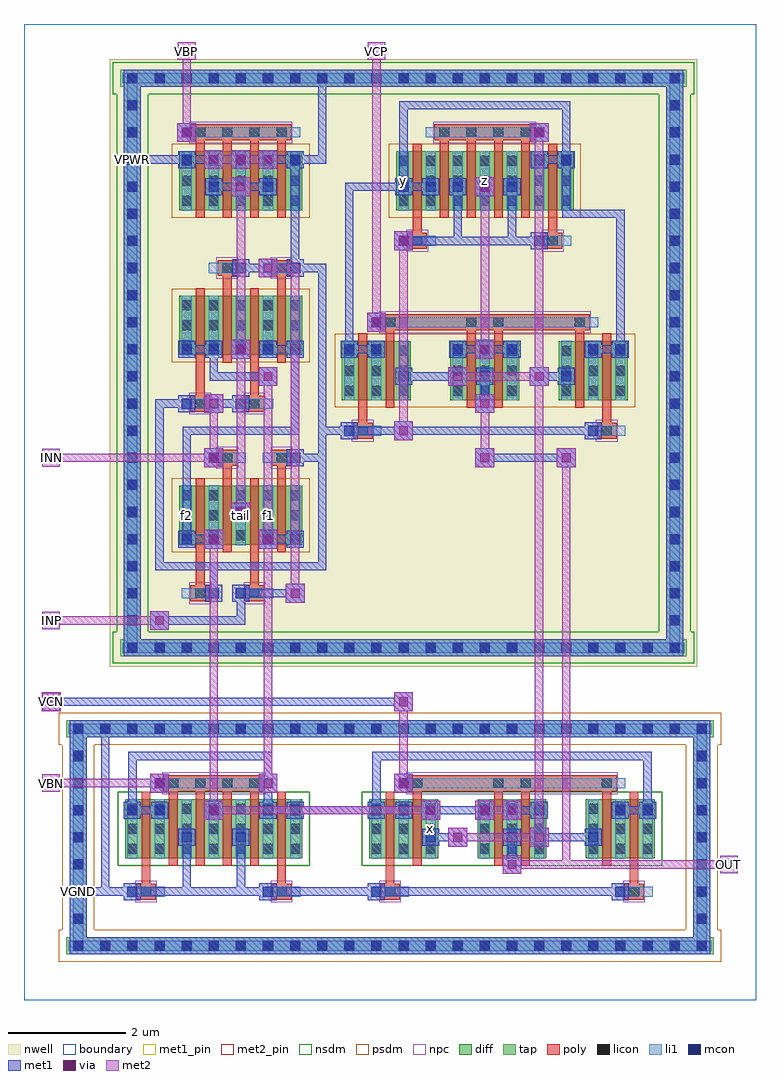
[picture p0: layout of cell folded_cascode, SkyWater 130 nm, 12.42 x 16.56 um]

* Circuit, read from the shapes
.subckt folded_cascode INN INP OUT VBN VBP VCN VCP VGND VPWR f1 f2 tail x y z
XM1 f1 VGND f1 VGND sky130_fd_pr__nfet_01v8 w=1 l=0.15 m=4
XM2 VGND VBN f1 VGND sky130_fd_pr__nfet_01v8 w=1 l=0.15 m=2
XM3 f2 VBN VGND VGND sky130_fd_pr__nfet_01v8 w=1 l=0.15 m=2
XM4 x VCN f1 VGND sky130_fd_pr__nfet_01v8 w=1 l=0.15 m=2
XM5 OUT VCN f2 VGND sky130_fd_pr__nfet_01v8 w=1 l=0.15 m=2
XM6 f2 VPWR f2 VPWR sky130_fd_pr__pfet_01v8 w=1 l=0.15 m=2
XM7 f1 VPWR f1 VPWR sky130_fd_pr__pfet_01v8 w=1 l=0.15 m=2
XM8 tail VBP VPWR VPWR sky130_fd_pr__pfet_01v8 w=1 l=0.15 m=4
XM9 tail INN f2 VPWR sky130_fd_pr__pfet_01v8 w=1 l=0.15 m=2
XM10 tail INP f1 VPWR sky130_fd_pr__pfet_01v8 w=1 l=0.15 m=2
XM11 y VPWR y VPWR sky130_fd_pr__pfet_01v8 w=1 l=0.15 m=4
XM12 x VCP y VPWR sky130_fd_pr__pfet_01v8 w=1 l=0.15 m=2
XM13 VPWR x y VPWR sky130_fd_pr__pfet_01v8 w=1 l=0.15 m=2
XM14 OUT VCP z VPWR sky130_fd_pr__pfet_01v8 w=1 l=0.15 m=2
XM15 z x VPWR VPWR sky130_fd_pr__pfet_01v8 w=1 l=0.15 m=2
.ends

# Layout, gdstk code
import gdstk
lib = gdstk.Library(unit=1e-6, precision=1e-09)
def R(c, l, rs):  # rectangles x0, y0, x1, y1
    for r in rs: c.add(gdstk.rectangle(r[:2], r[2:], *l))
def A(c, l, x, y, w, h, nx, ny, dx, dy):  # array of equal rectangles
    R(c, l, [(x+i*dx, y+j*dy, x+i*dx+w, y+j*dy+h) for i in range(nx) for j in range(ny)])
nwell = (64, 20)
diff = (65, 20)
tap = (65, 44)
poly = (66, 20)
licon = (66, 44)
li1 = (67, 20)
mcon = (67, 44)
met1_pin = (68, 16)
met1 = (68, 20)
via = (68, 44)
met2_pin = (69, 16)
met2 = (69, 20)
nsdm = (93, 44)
psdm = (94, 20)
npc = (95, 20)
boundary = (235, 4)

folded_cascode = lib.new_cell('folded_cascode')
R(folded_cascode, nwell, [(1.455,5.655,11.425,15.965)])
A(folded_cascode, diff, 5.855, 2.405, 1.17, 1, 3, 1, 1.84, 0)
A(folded_cascode, diff, 5.395, 10.18, 1.17, 1, 3, 1, 1.84, 0)
R(folded_cascode, diff, [(1.715,2.405,4.725,3.405), (2.635,7.725,4.725,8.725), (2.635,10.945,4.725,11.945), (2.635,13.4,4.725,14.4), (6.315,13.4,9.325,14.4)])
R(folded_cascode, tap, [(0.715,0.775,11.705,1.065), (0.775,0.775,1.065,4.745), (11.355,0.775,11.645,4.745), (0.715,4.455,11.705,4.745), (1.635,5.835,11.245,6.125), (1.695,5.835,1.985,15.785), (10.895,5.835,11.185,15.785), (1.635,15.495,11.245,15.785)])
A(folded_cascode, poly, 2.455, 2.275, 0.15, 1.405, 4, 1, 0.46, 0)
A(folded_cascode, poly, 2.915, 13.27, 0.15, 1.45, 4, 1, 0.46, 0)
A(folded_cascode, poly, 7.055, 13.27, 0.15, 1.45, 4, 1, 0.46, 0)
R(folded_cascode, poly, [(1.905,1.705,2.235,1.975), (4.205,1.705,4.535,1.975), (6.045,1.705,6.375,1.975), (10.185,1.705,10.515,1.975), (1.995,1.84,2.145,3.535), (4.295,1.84,4.445,3.535), (6.135,1.84,6.285,3.535), (10.275,1.84,10.425,3.535), (6.595,2.275,6.745,3.68), (7.975,2.275,8.125,3.68), (8.435,2.275,8.585,3.68), (9.815,2.275,9.965,3.68), (2.365,3.545,4.075,3.815), (6.505,3.545,10.055,3.815), (2.825,6.765,3.155,7.035), (3.745,6.765,4.075,7.035), (2.915,6.9,3.065,8.855), (3.835,6.9,3.985,8.855), (3.375,7.595,3.525,9.2), (4.295,7.595,4.445,9.2), (3.285,9.065,3.615,9.335), (4.205,9.065,4.535,9.335), (5.585,9.525,5.915,9.795), (9.725,9.525,10.055,9.795), (5.675,9.66,5.825,11.31), (9.815,9.66,9.965,11.31), (2.825,9.985,3.155,10.255), (3.745,9.985,4.075,10.255), (6.135,10.05,6.285,11.5), (7.515,10.05,7.665,11.5), (7.975,10.05,8.125,11.5), (9.355,10.05,9.505,11.5), (2.915,10.12,3.065,12.075), (3.835,10.12,3.985,12.075), (3.375,10.815,3.525,12.42), (4.295,10.815,4.445,12.42), (6.045,11.365,9.595,11.635), (3.285,12.285,3.615,12.555), (4.205,12.285,4.535,12.555), (6.505,12.745,6.835,13.015), (8.805,12.745,9.135,13.015), (6.595,12.88,6.745,14.53), (8.895,12.88,9.045,14.53), (2.825,14.585,4.535,14.855), (6.965,14.585,8.675,14.855)])
A(folded_cascode, licon, 0.835, 0.835, 0.17, 0.17, 24, 2, 0.46, 3.68)
A(folded_cascode, licon, 0.835, 1.295, 0.17, 0.17, 1, 7, 0, 0.46)
A(folded_cascode, licon, 11.415, 1.295, 0.17, 0.17, 1, 7, 0, 0.46)
A(folded_cascode, licon, 1.755, 2.48, 0.17, 0.17, 7, 3, 0.46, 0.34)
A(folded_cascode, licon, 5.895, 2.48, 0.17, 0.17, 3, 3, 0.46, 0.34)
A(folded_cascode, licon, 7.735, 2.48, 0.17, 0.17, 3, 3, 0.46, 0.34)
A(folded_cascode, licon, 9.575, 2.48, 0.17, 0.17, 3, 3, 0.46, 0.34)
A(folded_cascode, licon, 2.445, 3.595, 0.17, 0.17, 4, 1, 0.46, 0)
A(folded_cascode, licon, 1.755, 5.895, 0.17, 0.17, 21, 2, 0.46, 9.66)
A(folded_cascode, licon, 1.755, 6.355, 0.17, 0.17, 1, 20, 0, 0.46)
A(folded_cascode, licon, 10.955, 6.355, 0.17, 0.17, 1, 20, 0, 0.46)
A(folded_cascode, licon, 2.675, 7.8, 0.17, 0.17, 5, 3, 0.46, 0.34)
A(folded_cascode, licon, 5.435, 10.255, 0.17, 0.17, 3, 3, 0.46, 0.34)
A(folded_cascode, licon, 7.275, 10.255, 0.17, 0.17, 3, 3, 0.46, 0.34)
A(folded_cascode, licon, 9.115, 10.255, 0.17, 0.17, 3, 3, 0.46, 0.34)
A(folded_cascode, licon, 2.675, 11.02, 0.17, 0.17, 5, 3, 0.46, 0.34)
A(folded_cascode, licon, 2.675, 13.475, 0.17, 0.17, 5, 3, 0.46, 0.34)
A(folded_cascode, licon, 6.355, 13.475, 0.17, 0.17, 7, 3, 0.46, 0.34)
A(folded_cascode, licon, 2.905, 14.635, 0.17, 0.17, 4, 1, 0.46, 0)
A(folded_cascode, licon, 7.045, 14.635, 0.17, 0.17, 4, 1, 0.46, 0)
R(folded_cascode, licon, [(1.985,1.755,2.155,1.925), (4.285,1.755,4.455,1.925), (6.125,1.755,6.295,1.925), (10.265,1.755,10.435,1.925), (6.585,3.595,6.755,3.765), (7.965,3.595,8.135,3.765), (8.425,3.595,8.595,3.765), (9.805,3.595,9.975,3.765), (2.905,6.815,3.075,6.985), (3.825,6.815,3.995,6.985), (3.365,9.115,3.535,9.285), (4.285,9.115,4.455,9.285), (5.665,9.575,5.835,9.745), (9.805,9.575,9.975,9.745), (2.905,10.035,3.075,10.205), (3.825,10.035,3.995,10.205), (6.125,11.415,6.295,11.585), (7.505,11.415,7.675,11.585), (7.965,11.415,8.135,11.585), (9.345,11.415,9.515,11.585), (3.365,12.335,3.535,12.505), (4.285,12.335,4.455,12.505), (6.585,12.795,6.755,12.965), (8.885,12.795,9.055,12.965)])
A(folded_cascode, li1, 1.755, 2.4, 0.17, 1.01, 7, 1, 0.46, 0)
A(folded_cascode, li1, 5.895, 2.4, 0.17, 1.01, 3, 1, 0.46, 0)
A(folded_cascode, li1, 7.735, 2.4, 0.17, 1.01, 3, 1, 0.46, 0)
A(folded_cascode, li1, 9.575, 2.4, 0.17, 1.01, 3, 1, 0.46, 0)
A(folded_cascode, li1, 2.675, 7.72, 0.17, 1.01, 5, 2, 0.46, 3.22)
A(folded_cascode, li1, 5.435, 10.175, 0.17, 1.01, 3, 1, 0.46, 0)
A(folded_cascode, li1, 7.275, 10.175, 0.17, 1.01, 3, 1, 0.46, 0)
A(folded_cascode, li1, 9.115, 10.175, 0.17, 1.01, 3, 1, 0.46, 0)
A(folded_cascode, li1, 2.675, 13.395, 0.17, 1.01, 5, 1, 0.46, 0)
A(folded_cascode, li1, 6.355, 13.395, 0.17, 1.01, 7, 1, 0.46, 0)
R(folded_cascode, li1, [(0.755,0.835,11.665,1.005), (0.835,0.835,1.005,4.685), (11.415,0.835,11.585,4.685), (1.755,1.755,2.385,1.925), (4.055,1.755,4.685,1.925), (5.895,1.755,6.525,1.925), (10.035,1.755,10.665,1.925), (2.215,3.595,4.225,3.765), (6.355,3.595,10.205,3.765), (0.755,4.515,11.665,4.685), (1.675,5.895,11.205,6.065), (1.755,5.895,1.925,15.725), (10.955,5.895,11.125,15.725), (2.675,6.815,3.305,6.985), (3.595,6.815,4.225,6.985), (3.135,9.115,3.765,9.285), (4.055,9.115,4.685,9.285), (5.435,9.575,6.065,9.745), (9.575,9.575,10.205,9.745), (2.675,10.035,3.305,10.205), (3.595,10.035,4.225,10.205), (5.895,11.415,9.745,11.585), (3.135,12.335,3.765,12.505), (4.055,12.335,4.685,12.505), (6.355,12.795,6.985,12.965), (8.655,12.795,9.285,12.965), (2.675,14.635,4.685,14.805), (6.815,14.635,8.825,14.805), (1.675,15.555,11.205,15.725)])
A(folded_cascode, mcon, 0.835, 0.835, 0.17, 0.17, 24, 2, 0.46, 3.68)
A(folded_cascode, mcon, 0.835, 1.295, 0.17, 0.17, 1, 7, 0, 0.46)
A(folded_cascode, mcon, 11.415, 1.295, 0.17, 0.17, 1, 7, 0, 0.46)
A(folded_cascode, mcon, 4.055, 1.755, 0.17, 0.17, 1, 3, 0, 5.98)
A(folded_cascode, mcon, 6.815, 2.675, 0.17, 0.17, 3, 1, 1.38, 0)
A(folded_cascode, mcon, 2.215, 3.135, 0.17, 0.17, 3, 1, 0.92, 0)
A(folded_cascode, mcon, 4.515, 3.135, 0.17, 0.17, 1, 3, 0, 4.6)
A(folded_cascode, mcon, 1.755, 5.895, 0.17, 0.17, 21, 2, 0.46, 9.66)
A(folded_cascode, mcon, 1.755, 6.355, 0.17, 0.17, 1, 6, 0, 0.46)
A(folded_cascode, mcon, 10.955, 6.355, 0.17, 0.17, 1, 14, 0, 0.46)
A(folded_cascode, mcon, 1.755, 9.115, 0.17, 0.17, 3, 1, 1.38, 0)
A(folded_cascode, mcon, 1.755, 10.035, 0.17, 0.17, 3, 1, 0.92, 0)
A(folded_cascode, mcon, 1.755, 10.495, 0.17, 0.17, 1, 8, 0, 0.46)
A(folded_cascode, mcon, 6.355, 10.495, 0.17, 0.17, 3, 1, 1.38, 0)
A(folded_cascode, mcon, 2.675, 10.955, 0.17, 0.17, 5, 1, 0.46, 0)
A(folded_cascode, mcon, 6.355, 12.795, 0.17, 0.17, 3, 1, 2.3, 0)
A(folded_cascode, mcon, 10.955, 13.255, 0.17, 0.17, 1, 5, 0, 0.46)
A(folded_cascode, mcon, 6.355, 13.715, 0.17, 0.17, 5, 1, 0.46, 0)
A(folded_cascode, mcon, 1.755, 14.175, 0.17, 0.17, 4, 1, 0.92, 0)
R(folded_cascode, mcon, [(1.755,1.755,1.925,1.925), (5.895,1.755,6.065,1.925), (10.035,1.755,10.205,1.925), (2.675,2.675,2.845,2.845), (3.595,2.675,3.765,2.845), (1.755,3.135,1.925,3.305), (5.895,3.135,6.065,3.305), (6.355,3.135,6.525,3.305), (7.735,3.135,7.905,3.305), (8.655,3.135,8.825,3.305), (10.035,3.135,10.205,3.305), (10.495,3.135,10.665,3.305), (2.215,3.595,2.385,3.765), (6.355,3.595,6.525,3.765), (3.135,6.815,3.305,6.985), (3.595,6.815,3.765,6.985), (2.675,7.735,2.845,7.905), (3.135,7.735,3.305,7.905), (3.595,8.195,3.765,8.365), (1.755,9.575,1.925,9.745), (5.435,9.575,5.605,9.745), (9.575,9.575,9.745,9.745), (5.435,10.955,5.605,11.125), (5.895,10.955,6.065,11.125), (7.275,10.955,7.445,11.125), (8.195,10.955,8.365,11.125), (9.575,10.955,9.745,11.125), (10.035,10.955,10.205,11.125), (5.895,11.415,6.065,11.585), (3.595,12.335,3.765,12.505), (3.135,13.715,3.305,13.885), (8.655,14.175,8.825,14.345), (9.115,14.175,9.285,14.345), (1.755,14.635,1.925,14.805), (2.675,14.635,2.845,14.805), (8.655,14.635,8.825,14.805), (1.755,15.095,1.925,15.265)])
R(folded_cascode, met1_pin, [(0.85,1.77,0.99,1.91), (1.77,14.19,1.91,14.33)])
A(folded_cascode, met1, 3.995, 1.695, 0.29, 0.29, 1, 3, 0, 5.98)
A(folded_cascode, met1, 6.755, 2.615, 0.29, 0.29, 3, 1, 1.38, 0)
A(folded_cascode, met1, 2.155, 3.075, 0.29, 0.29, 3, 1, 0.92, 0)
A(folded_cascode, met1, 3.52, 8.12, 0.32, 0.32, 1, 3, 0, 2.76)
A(folded_cascode, met1, 7.66, 9.04, 0.32, 0.32, 1, 3, 0, 0.92)
A(folded_cascode, met1, 6.295, 10.435, 0.29, 0.29, 3, 1, 1.38, 0)
A(folded_cascode, met1, 2.615, 10.895, 0.29, 0.29, 5, 1, 0.46, 0)
A(folded_cascode, met1, 2.69, 10.97, 0.6, 0.14, 3, 1, 1.38, 0)
A(folded_cascode, met1, 6.295, 13.655, 0.29, 0.29, 5, 1, 0.46, 0)
A(folded_cascode, met1, 3.06, 14.1, 0.32, 0.32, 3, 1, 0.46, 0)
A(folded_cascode, met1, 2.615, 14.115, 0.29, 0.29, 3, 1, 0.92, 0)
R(folded_cascode, met1, [(0.775,0.775,11.645,1.065), (0.775,0.775,1.065,4.745), (11.355,0.775,11.645,4.745), (1.695,1.695,1.985,1.985), (5.835,1.695,6.125,1.985), (9.975,1.695,10.265,1.985), (0.85,1.77,1.91,1.91), (0.85,1.77,0.99,1.91), (1.31,1.77,1.45,4.67), (1.77,1.77,2.83,1.91), (2.69,1.77,4.21,1.91), (2.69,1.77,2.83,2.83), (3.61,1.77,3.75,2.83), (4.07,1.77,6.05,1.91), (5.91,1.77,10.19,1.91), (8.12,2.14,8.44,2.46), (8.21,2.23,8.35,2.83), (7.2,2.6,7.52,2.92), (8.58,2.6,8.9,2.92), (2.615,2.615,2.905,2.905), (3.535,2.615,3.825,2.905), (6.83,2.69,7.43,2.83), (8.67,2.69,9.73,2.83), (3.06,3.06,3.38,3.38), (6.74,3.06,7.06,3.38), (7.66,3.06,7.98,3.38), (8.12,3.06,8.44,3.38), (1.695,3.075,1.985,3.365), (4.455,3.075,4.745,3.365), (5.835,3.075,6.125,3.365), (6.295,3.075,6.585,3.365), (7.675,3.075,7.965,3.365), (8.595,3.075,8.885,3.365), (9.975,3.075,10.265,3.365), (10.435,3.075,10.725,3.365), (1.77,3.15,2.37,3.29), (1.77,3.15,1.91,4.21), (4.07,3.15,4.67,3.29), (4.07,3.15,4.21,3.75), (4.53,3.15,6.05,3.29), (5.91,3.15,6.51,3.29), (5.91,3.15,6.05,4.21), (6.83,3.15,7.89,3.29), (8.21,3.15,8.81,3.29), (10.05,3.15,10.65,3.29), (10.51,3.15,10.65,4.21), (2.14,3.52,2.46,3.84), (3.98,3.52,4.3,3.84), (6.28,3.52,6.6,3.84), (2.155,3.535,2.445,3.825), (6.295,3.535,6.585,3.825), (4.07,3.61,4.21,4.21), (1.77,4.07,4.21,4.21), (5.91,4.07,10.65,4.21), (0.775,4.455,11.645,4.745), (1.31,4.53,1.45,4.67), (0.3,4.9,0.62,5.22), (6.28,4.9,6.6,5.22), (0.39,4.99,6.51,5.13), (1.695,5.835,11.185,6.125), (1.695,5.835,1.985,15.785), (10.895,5.835,11.185,15.785), (2.14,6.28,2.46,6.6), (2.23,6.37,3.75,6.51), (3.61,6.37,3.75,6.97), (4.44,6.74,4.76,7.06), (3.075,6.755,3.365,7.045), (3.535,6.755,3.825,7.045), (3.15,6.83,3.29,7.43), (3.61,6.83,4.67,6.97), (2.23,7.29,3.29,7.43), (2.23,7.29,2.37,10.19), (3.15,7.29,5.13,7.43), (4.99,7.29,5.13,9.27), (3.06,7.66,3.38,7.98), (3.98,7.66,4.3,7.98), (2.615,7.675,2.905,7.965), (3.075,7.675,3.365,7.965), (4.455,7.675,4.745,7.965), (2.69,7.75,3.29,7.89), (2.69,7.75,2.83,9.73), (4.07,7.75,4.67,7.89), (3.535,8.135,3.825,8.425), (3.06,9.04,3.38,9.36), (9.04,9.04,9.36,9.36), (3.075,9.055,3.365,9.345), (4.455,9.055,4.745,9.345), (4.53,9.13,5.13,9.27), (4.99,9.13,5.13,9.73), (7.75,9.13,9.27,9.27), (6.28,9.5,6.6,9.82), (5.375,9.515,5.665,9.805), (9.515,9.515,9.805,9.805), (2.69,9.59,4.67,9.73), (4.53,9.59,4.67,11.11), (4.99,9.59,5.59,9.73), (4.99,9.59,5.13,12.49), (5.45,9.59,9.73,9.73), (3.06,9.96,3.38,10.28), (2.615,9.975,2.905,10.265), (3.535,9.975,3.825,10.265), (2.23,10.05,2.83,10.19), (3.15,10.05,3.75,10.19), (7.75,10.05,7.89,10.65), (3.98,10.42,4.3,10.74), (7.2,10.42,7.52,10.74), (8.58,10.42,8.9,10.74), (3.15,10.51,4.21,10.65), (3.15,10.51,3.29,11.11), (6.37,10.51,7.43,10.65), (8.67,10.51,9.27,10.65), (5.375,10.895,5.665,11.185), (5.835,10.895,6.125,11.185), (7.215,10.895,7.505,11.185), (8.135,10.895,8.425,11.185), (9.515,10.895,9.805,11.185), (9.975,10.895,10.265,11.185), (5.45,10.97,5.59,13.87), (7.29,10.97,7.89,11.11), (7.75,10.97,8.35,11.11), (9.59,10.97,10.19,11.11), (10.05,10.97,10.19,13.41), (5.82,11.34,6.14,11.66), (5.835,11.355,6.125,11.645), (3.98,12.26,4.3,12.58), (3.535,12.275,3.825,12.565), (4.455,12.275,4.745,12.565), (3.61,12.35,4.21,12.49), (4.53,12.35,5.13,12.49), (4.53,12.35,4.67,14.33), (6.28,12.72,6.6,13.04), (6.295,12.735,6.585,13.025), (8.595,12.735,8.885,13.025), (6.37,12.81,7.43,12.95), (7.29,12.81,8.81,12.95), (7.29,12.81,7.43,13.87), (8.21,12.81,8.35,13.87), (9.13,13.27,10.19,13.41), (9.13,13.27,9.27,14.33), (7.66,13.64,7.98,13.96), (3.075,13.655,3.365,13.945), (3.15,13.73,3.75,13.87), (3.61,13.73,4.21,13.87), (5.45,13.73,6.51,13.87), (6.37,13.73,6.97,13.87), (6.37,13.73,6.51,15.25), (8.595,14.115,8.885,14.405), (9.055,14.115,9.345,14.405), (1.77,14.19,2.83,14.33), (1.77,14.19,1.91,14.33), (2.69,14.19,3.29,14.33), (4.07,14.19,4.67,14.33), (4.53,14.19,5.13,14.33), (4.99,14.19,5.13,15.71), (8.67,14.19,9.27,14.33), (9.13,14.19,9.27,15.25), (2.6,14.56,2.92,14.88), (8.58,14.56,8.9,14.88), (2.615,14.575,2.905,14.865), (8.595,14.575,8.885,14.865), (6.37,15.11,9.27,15.25), (1.695,15.495,11.185,15.785), (4.99,15.57,5.13,15.71)])
A(folded_cascode, via, 3.605, 8.205, 0.15, 0.15, 1, 3, 0, 2.76)
A(folded_cascode, via, 7.745, 9.125, 0.15, 0.15, 1, 3, 0, 0.92)
A(folded_cascode, via, 3.145, 14.185, 0.15, 0.15, 3, 1, 0.46, 0)
R(folded_cascode, via, [(8.205,2.225,8.355,2.375), (7.285,2.685,7.435,2.835), (8.665,2.685,8.815,2.835), (3.145,3.145,3.295,3.295), (6.825,3.145,6.975,3.295), (7.745,3.145,7.895,3.295), (8.205,3.145,8.355,3.295), (2.225,3.605,2.375,3.755), (4.065,3.605,4.215,3.755), (6.365,3.605,6.515,3.755), (0.385,4.985,0.535,5.135), (6.365,4.985,6.515,5.135), (2.225,6.365,2.375,6.515), (4.525,6.825,4.675,6.975), (3.145,7.745,3.295,7.895), (4.065,7.745,4.215,7.895), (3.145,9.125,3.295,9.275), (9.125,9.125,9.275,9.275), (6.365,9.585,6.515,9.735), (3.145,10.045,3.295,10.195), (4.065,10.505,4.215,10.655), (7.285,10.505,7.435,10.655), (8.665,10.505,8.815,10.655), (5.905,11.425,6.055,11.575), (4.065,12.345,4.215,12.495), (6.365,12.805,6.515,12.955), (7.745,13.725,7.895,13.875), (2.685,14.645,2.835,14.795), (8.665,14.645,8.815,14.795)])
A(folded_cascode, met2_pin, 0.31, 3.53, 0.3, 0.3, 1, 3, 0, 1.38)
R(folded_cascode, met2_pin, [(11.81,2.15,12.11,2.45), (0.31,9.05,0.61,9.35), (2.61,15.95,2.91,16.25), (5.83,15.95,6.13,16.25)])
A(folded_cascode, met2, 0.31, 3.53, 0.3, 0.3, 1, 3, 0, 1.38)
A(folded_cascode, met2, 0.39, 3.61, 0.14, 0.14, 1, 3, 0, 1.38)
A(folded_cascode, met2, 3.52, 8.12, 0.32, 0.32, 1, 3, 0, 2.76)
A(folded_cascode, met2, 7.66, 9.04, 0.32, 0.32, 1, 3, 0, 0.92)
A(folded_cascode, met2, 3.06, 14.1, 0.32, 0.32, 3, 1, 0.46, 0)
R(folded_cascode, met2, [(8.12,2.14,8.44,2.46), (11.81,2.15,12.11,2.45), (8.21,2.23,12.03,2.37), (9.13,2.23,9.27,9.27), (11.89,2.23,12.03,2.37), (7.2,2.6,7.52,2.92), (8.58,2.6,8.9,2.92), (7.29,2.69,8.81,2.83), (8.67,2.69,8.81,10.65), (3.06,3.06,3.38,3.38), (6.74,3.06,7.06,3.38), (7.66,3.06,7.98,3.38), (8.12,3.06,8.44,3.38), (3.15,3.15,3.29,7.89), (3.15,3.15,6.97,3.29), (7.75,3.15,8.35,3.29), (2.14,3.52,2.46,3.84), (3.98,3.52,4.3,3.84), (6.28,3.52,6.6,3.84), (0.39,3.61,2.37,3.75), (4.07,3.61,4.21,7.89), (6.37,3.61,6.51,5.13), (0.3,4.9,0.62,5.22), (6.28,4.9,6.6,5.22), (2.14,6.28,2.46,6.6), (0.39,6.37,2.37,6.51), (4.44,6.74,4.76,7.06), (4.53,6.83,4.67,12.49), (3.06,7.66,3.38,7.98), (3.98,7.66,4.3,7.98), (4.07,7.75,4.21,10.65), (3.61,8.21,3.75,11.11), (3.06,9.04,3.38,9.36), (9.04,9.04,9.36,9.36), (0.31,9.05,0.61,9.35), (0.39,9.13,0.53,9.27), (0.39,9.13,3.29,9.27), (3.15,9.13,3.29,10.19), (7.75,9.13,7.89,10.19), (6.28,9.5,6.6,9.82), (6.37,9.59,6.51,12.95), (3.06,9.96,3.38,10.28), (3.98,10.42,4.3,10.74), (7.2,10.42,7.52,10.74), (8.58,10.42,8.9,10.74), (7.29,10.51,8.81,10.65), (8.67,10.51,8.81,14.79), (3.61,10.97,3.75,13.87), (7.75,10.97,7.89,13.87), (5.82,11.34,6.14,11.66), (5.91,11.43,6.05,16.17), (3.98,12.26,4.3,12.58), (4.07,12.35,4.67,12.49), (6.28,12.72,6.6,13.04), (7.66,13.64,7.98,13.96), (3.15,14.19,3.75,14.33), (3.61,14.19,4.21,14.33), (2.6,14.56,2.92,14.88), (8.58,14.56,8.9,14.88), (2.69,14.65,2.83,16.17), (2.61,15.95,2.91,16.25), (5.83,15.95,6.13,16.25), (2.69,16.03,2.83,16.17), (5.91,16.03,6.05,16.17)])
R(folded_cascode, nsdm, [(1.59,2.28,4.85,3.53), (5.73,2.28,10.83,3.53), (1.51,5.71,11.37,6.25), (1.57,6.25,2.11,15.37), (10.77,6.25,11.31,15.37), (1.51,15.37,11.37,15.91)])
R(folded_cascode, psdm, [(0.59,0.65,11.83,1.19), (0.65,1.19,1.19,4.33), (11.23,1.19,11.77,4.33), (0.59,4.33,11.83,4.87), (2.51,7.6,4.85,8.85), (5.27,10.055,10.37,11.305), (2.51,10.82,4.85,12.07), (2.51,13.275,4.85,14.525), (6.19,13.275,9.45,14.525)])
R(folded_cascode, npc, [(1.885,1.655,2.255,2.025), (4.185,1.655,4.555,2.025), (6.025,1.655,6.395,2.025), (10.165,1.655,10.535,2.025), (2.345,3.495,4.095,3.865), (6.485,3.495,10.075,3.865), (2.805,6.715,3.175,7.085), (3.725,6.715,4.095,7.085), (3.265,9.015,3.635,9.385), (4.185,9.015,4.555,9.385), (5.565,9.475,5.935,9.845), (9.705,9.475,10.075,9.845), (2.805,9.935,3.175,10.305), (3.725,9.935,4.095,10.305), (6.025,11.315,9.615,11.685), (3.265,12.235,3.635,12.605), (4.185,12.235,4.555,12.605), (6.485,12.695,6.855,13.065), (8.785,12.695,9.155,13.065), (2.805,14.535,4.555,14.905), (6.945,14.535,8.695,14.905)])
R(folded_cascode, boundary, [(0,0,12.42,16.56)])
folded_cascode.add(gdstk.Label('f2', (2.76,8.225), layer=67, texttype=5))
folded_cascode.add(gdstk.Label('tail', (3.68,8.225), layer=67, texttype=5))
folded_cascode.add(gdstk.Label('f1', (4.14,8.225), layer=67, texttype=5))
folded_cascode.add(gdstk.Label('x', (6.9,2.905), layer=67, texttype=5))
folded_cascode.add(gdstk.Label('y', (6.44,13.9), layer=67, texttype=5))
folded_cascode.add(gdstk.Label('z', (7.82,13.9), layer=67, texttype=5))
folded_cascode.add(gdstk.Label('VPWR', (1.84,14.26), layer=68, texttype=5))
folded_cascode.add(gdstk.Label('VGND', (0.92,1.84), layer=68, texttype=5))
folded_cascode.add(gdstk.Label('INP', (0.46,6.44), layer=69, texttype=5))
folded_cascode.add(gdstk.Label('INN', (0.46,9.2), layer=69, texttype=5))
folded_cascode.add(gdstk.Label('VBP', (2.76,16.1), layer=69, texttype=5))
folded_cascode.add(gdstk.Label('VBN', (0.46,3.68), layer=69, texttype=5))
folded_cascode.add(gdstk.Label('VCN', (0.46,5.06), layer=69, texttype=5))
folded_cascode.add(gdstk.Label('VCP', (5.98,16.1), layer=69, texttype=5))
folded_cascode.add(gdstk.Label('OUT', (11.96,2.3), layer=69, texttype=5))
folded_cascode.add(gdstk.Label('VPWR', (1.84,14.26), layer=68, texttype=16))
folded_cascode.add(gdstk.Label('VGND', (0.92,1.84), layer=68, texttype=16))
folded_cascode.add(gdstk.Label('INP', (0.46,6.44), layer=69, texttype=16))
folded_cascode.add(gdstk.Label('INN', (0.46,9.2), layer=69, texttype=16))
folded_cascode.add(gdstk.Label('VBP', (2.76,16.1), layer=69, texttype=16))
folded_cascode.add(gdstk.Label('VBN', (0.46,3.68), layer=69, texttype=16))
folded_cascode.add(gdstk.Label('VCN', (0.46,5.06), layer=69, texttype=16))
folded_cascode.add(gdstk.Label('VCP', (5.98,16.1), layer=69, texttype=16))
folded_cascode.add(gdstk.Label('OUT', (11.96,2.3), layer=69, texttype=16))

lib.write_gds('folded_cascode.gds')
